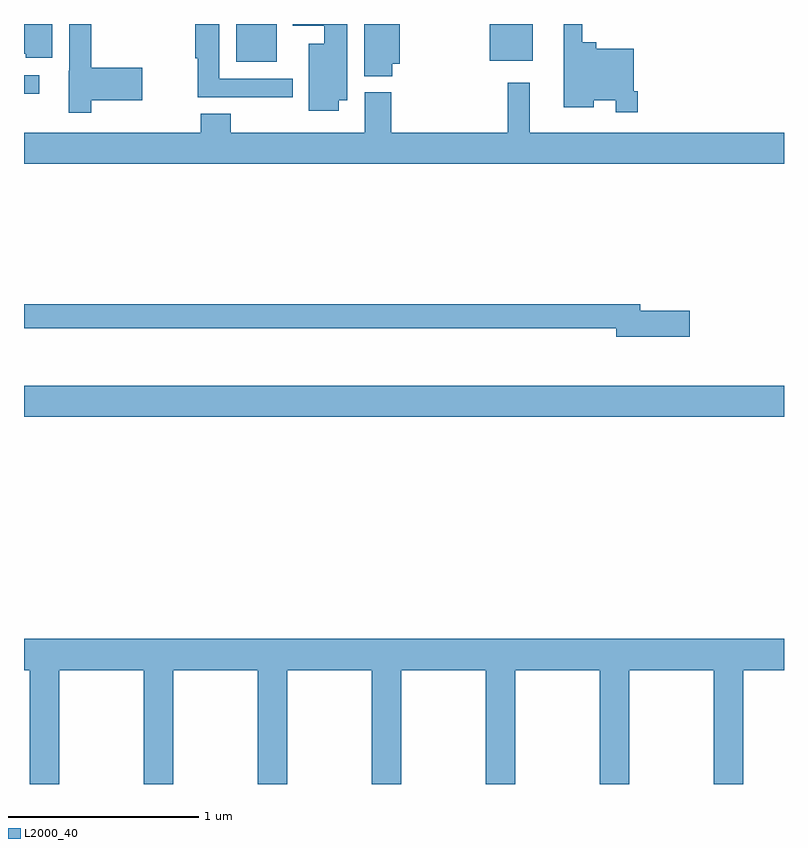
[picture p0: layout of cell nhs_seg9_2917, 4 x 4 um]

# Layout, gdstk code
import gdstk
lib = gdstk.Library(unit=1e-6, precision=1e-09)
def R(c, l, rs):  # rectangles x0, y0, x1, y1
    for r in rs: c.add(gdstk.rectangle(r[:2], r[2:], *l))
def P(c, l, *ps):  # polygons
    for p in ps: c.add(gdstk.Polygon(p, *l))
L2000_40 = (2000, 40)

nhs_seg9_2917 = lib.new_cell('nhs_seg9_2917')
R(nhs_seg9_2917, L2000_40, [(279,1184.432,283,1184.596), (279,1186.133,279.079,1186.23), (280.118,1186.301,280.33,1186.5), (281.45,1186.307,281.677,1186.5)])
P(nhs_seg9_2917, L2000_40, [(279.353,1186.1),(279.622,1186.1),(279.622,1186.271),(279.353,1186.271),(279.353,1186.5),(279.237,1186.5),(279.237,1186.254),(279.236,1186.254),(279.236,1186.032),(279.353,1186.032)],
  [(280.937,1186.292),(280.978,1186.292),(280.978,1186.5),(280.79,1186.5),(280.79,1186.225),(280.937,1186.225)],
  [(279.148,1186.5),(279,1186.5),(279,1186.344),(279.009,1186.344),(279.009,1186.323),(279.148,1186.323)],
  [(280.414,1186.212),(280.027,1186.212),(280.027,1186.5),(279.902,1186.5),(279.902,1186.319),(279.914,1186.319),(279.914,1186.115),(280.414,1186.115)],
  [(282.23,1186.147),(282.21,1186.147),(282.21,1186.369),(282.011,1186.369),(282.011,1186.405),(281.937,1186.405),(281.937,1186.5),(281.84,1186.5),(281.84,1186.061),(281.998,1186.061),(281.998,1186.1),(282.114,1186.1),(282.114,1186.035),(282.23,1186.035)],
  [(280.657,1186.1),(280.702,1186.1),(280.702,1186.5),(280.415,1186.5),(280.415,1186.49),(280.58,1186.49),(280.58,1186.396),(280.499,1186.396),(280.499,1186.044),(280.657,1186.044)],
  [(283,1185.928),(281.662,1185.928),(281.662,1186.192),(281.545,1186.192),(281.545,1185.928),(280.934,1185.928),(280.934,1186.14),(280.793,1186.14),(280.793,1185.928),(280.089,1185.928),(280.089,1186.027),(279.929,1186.027),(279.929,1185.928),(279,1185.928),(279,1185.764),(283,1185.764)],
  [(282.505,1184.99),(282.244,1184.99),(282.244,1185.026),(279,1185.026),(279,1184.898),(282.116,1184.898),(282.116,1184.855),(282.505,1184.855)],
  [(279.186,1183.1),(279.631,1183.1),(279.631,1182.5),(279.786,1182.5),(279.786,1183.1),(280.231,1183.1),(280.231,1182.5),(280.386,1182.5),(280.386,1183.1),(280.831,1183.1),(280.831,1182.5),(280.986,1182.5),(280.986,1183.1),(281.431,1183.1),(281.431,1182.5),(281.586,1182.5),(281.586,1183.1),(282.031,1183.1),(282.031,1182.5),(282.186,1182.5),(282.186,1183.1),(282.631,1183.1),(282.631,1182.5),(282.786,1182.5),(282.786,1183.1),(283,1183.1),(283,1183.264),(279,1183.264),(279,1183.1),(279.031,1183.1),(279.031,1182.5),(279.186,1182.5)])

lib.write_gds('nhs_seg9_2917.gds')
